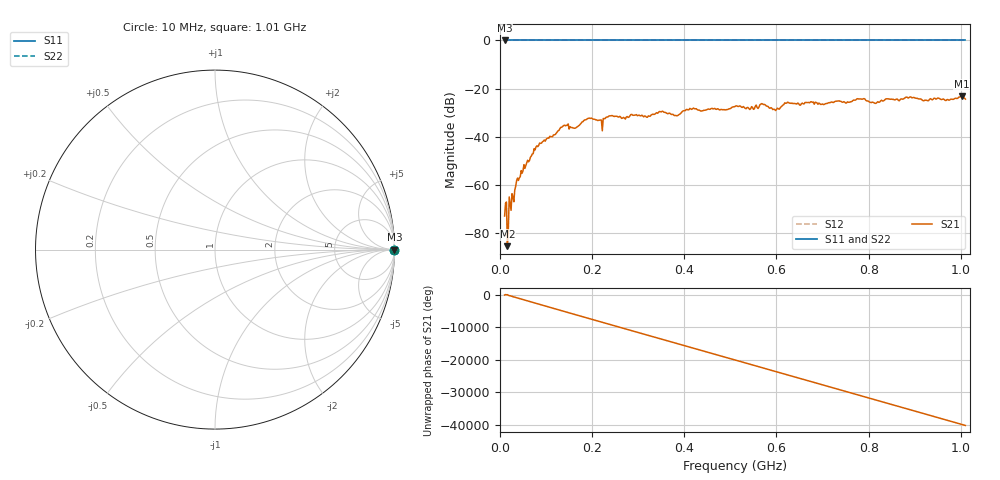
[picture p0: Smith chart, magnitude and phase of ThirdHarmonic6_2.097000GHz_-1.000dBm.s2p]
! 8/17/2025 1:05:43 AM
! C:\ANRITSUVNA\TEMP\TEMP.S2P
! CHANNEL.1
! TR.MEASUREMENT
! RAW.DATA
! RF.CORRECTION.OFF
! AVERAGING.OFF
! IF.BANDWIDTH: 5KHZ
! SWEEPTYPE:  FREQ.SWEEP(Linear)
! Reference Plane Port Info
! PORT:  PORT1  PORT2
! DISTANCE:  0  m  0  m
! TIME:  0  s  0  s
! PHASE.OFFSET:  0  deg.  0  deg.
! LOSS:  0  dB  0  dB
! REF.LOSS:  0  dB  0  dB
! REF.FREQ:  0  Hz  0  Hz
! Power Info
! POWER:  -20  dBm  -20  dBm
! EFF.POWER:  -20  dBm  -20  dBm
! SOURCE.ATTEN:  0  dB  0  dB
! TEST.ATTEN:  0  dB  0  dB
# GHZ S RI R 50.0
! FREQ.GHZ  S11RE  S11IM  S21RE  S21IM  S12RE  S12IM  S22RE  S22IM
!; PortSelection: Port_12
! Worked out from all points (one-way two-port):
!   501 points, 10 MHz to 1.01 GHz, reference 50 ohm
!   highest |S21| = -23.20 dB at 1.002 GHz (marker M1); lowest = -85.4 dB at 16 MHz (marker M2)
!   lowest |S11| = 0.0 dB at 10 MHz (marker M3)
!   |S11| at or under -10 dB: nowhere
!   |S22| runs from 0.0 to 0.0 dB; largest |S21 - S12| = 1.1
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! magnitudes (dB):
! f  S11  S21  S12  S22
! 10 MHz  0.0  -72.9  0.0  0.0
! 14 MHz  0.0  -67.1  0.0  0.0
! 16 MHz  0.0  -85.4  0.0  0.0
! 20 MHz  0.0  -65.0  0.0  0.0
! 24 MHz  0.0  -70.5  0.0  0.0
! 28 MHz  0.0  -64.9  0.0  0.0
! 38 MHz  0.0  -57.2  0.0  0.0
! 78 MHz  0.0  -44.3  0.0  0.0
! 136 MHz  0.0  -35.7  0.0  0.0
! 162 MHz  0.0  -36.5  0.0  0.0
! 178 MHz  0.0  -33.8  0.0  0.0
! 344 MHz  0.0  -29.9  0.0  0.0
! 382 MHz  0.0  -31.2  0.0  0.0
! 416 MHz  0.0  -28.6  0.0  0.0
! 510 MHz  0.0  -27.4  0.0  0.0
! 570 MHz  0.0  -26.4  0.0  0.0
! 596 MHz  0.0  -28.6  0.0  0.0
! 622 MHz  0.0  -26.0  0.0  0.0
! 678 MHz  0.0  -25.7  0.0  0.0
! 844 MHz  0.0  -24.3  0.0  0.0
! 1.002 GHz  0.0  -23.2  0.0  0.0
! 1.01 GHz  0.0  -24.3  0.0  0.0
